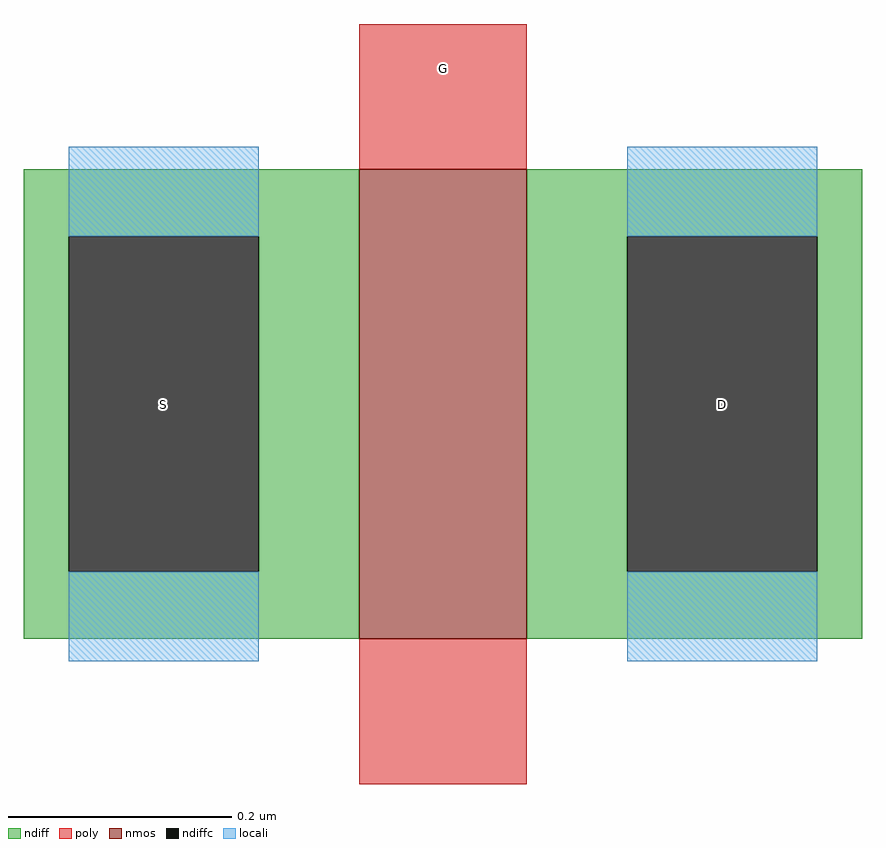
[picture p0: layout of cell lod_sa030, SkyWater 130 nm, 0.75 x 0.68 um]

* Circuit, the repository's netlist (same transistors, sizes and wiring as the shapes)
* NGSPICE file created from lod_sa030.ext - technology: sky130A

.subckt lod_sa030 S D G B
X0 D G S B sky130_fd_pr__nfet_01v8 ad=0.126 pd=1.44 as=0.126 ps=1.44 w=0.42 l=0.15
.ends

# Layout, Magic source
magic
tech sky130A
<< nmos >>
rect 30 0 45 42
<< ndiff >>
rect 0 36 30 42
rect 0 6 4 36
rect 21 6 30 36
rect 0 0 30 6
rect 45 36 75 42
rect 45 6 54 36
rect 71 6 75 36
rect 45 0 75 6
<< ndiffc >>
rect 4 6 21 36
rect 54 6 71 36
<< poly >>
rect 30 42 45 55
rect 30 -13 45 0
<< locali >>
rect 4 36 21 44
rect 4 -2 21 6
rect 54 36 71 44
rect 54 -2 71 6
<< labels >>
flabel locali 4 6 21 36 0 FreeSans 160 0 0 0 S
port 1 nsew
flabel locali 54 6 71 36 0 FreeSans 160 0 0 0 D
port 2 nsew
flabel poly 30 47 45 55 0 FreeSans 160 0 0 0 G
port 3 nsew
<< end >>
